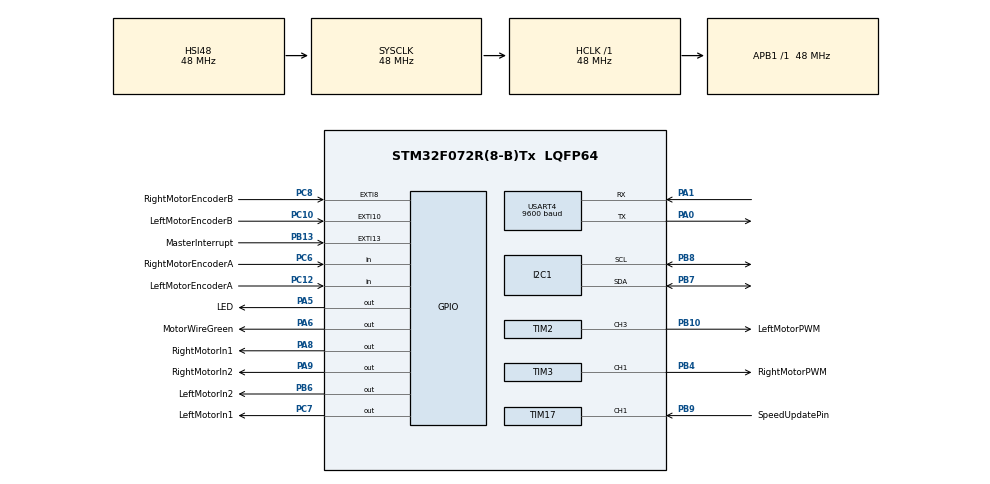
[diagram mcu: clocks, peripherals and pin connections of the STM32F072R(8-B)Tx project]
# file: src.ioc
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Dma.Request0=TIM2_CH3
Dma.Request1=TIM3_CH1/TRIG
Dma.TIM2_CH3.0.Direction=DMA_MEMORY_TO_PERIPH
Dma.TIM2_CH3.0.Instance=DMA1_Channel1
Dma.TIM2_CH3.0.MemDataAlignment=DMA_MDATAALIGN_WORD
Dma.TIM2_CH3.0.MemInc=DMA_MINC_DISABLE
Dma.TIM2_CH3.0.Mode=DMA_CIRCULAR
Dma.TIM2_CH3.0.PeriphDataAlignment=DMA_PDATAALIGN_WORD
Dma.TIM2_CH3.0.PeriphInc=DMA_PINC_DISABLE
Dma.TIM2_CH3.0.Priority=DMA_PRIORITY_HIGH
Dma.TIM3_CH1/TRIG.1.Direction=DMA_MEMORY_TO_PERIPH
Dma.TIM3_CH1/TRIG.1.Instance=DMA1_Channel6
Dma.TIM3_CH1/TRIG.1.MemDataAlignment=DMA_MDATAALIGN_WORD
Dma.TIM3_CH1/TRIG.1.MemInc=DMA_MINC_DISABLE
Dma.TIM3_CH1/TRIG.1.Mode=DMA_CIRCULAR
Dma.TIM3_CH1/TRIG.1.PeriphDataAlignment=DMA_PDATAALIGN_WORD
Dma.TIM3_CH1/TRIG.1.PeriphInc=DMA_PINC_DISABLE
Dma.TIM3_CH1/TRIG.1.Priority=DMA_PRIORITY_HIGH
FREERTOS.Events01=messageReceived,Dynamic,NULL
FREERTOS.Mutexes01=logMutex,Static,logMutexControlBlock
FREERTOS.Queues01=messagesQueue,3,struct Message,0,Dynamic,NULL,NULL;speedMeasQueue,1,struct SpeedValues,0,Static,speedMeasQueueBuffer,speedMeasQueueControlBlock
FREERTOS.Tasks01=controllerTask,24,200,startControllerTask,Default,NULL,Dynamic,NULL,NULL;rxTask,24,200,startCommunicationTask,Default,NULL,Dynamic,NULL,NULL;feedbackTask,24,128,startFeedbackTask,Default,NULL,Dynamic,NULL,NULL
FREERTOS.configUSE_NEWLIB_REENTRANT=1
Mcu.Family=STM32F0
Mcu.Name=STM32F072R(8-B)Tx
Mcu.Package=LQFP64
Mcu.UserConstants=TIM2_PRESCALER,0;TIM2_PERIOD,10000-1;TIM3_PERIOD,10000-1;TIM3_PRESCALER,0;TIM17_PRESCALER,1000-1;TIM17_PERIOD,480-1
NVIC.DMA1_Channel1_IRQn=true\:3\:0\:false\:false\:true\:true\:false\:true\:true
NVIC.DMA1_Channel4_5_6_7_IRQn=true\:3\:0\:false\:false\:true\:true\:false\:true\:true
NVIC.EXTI4_15_IRQn=true\:3\:0\:false\:false\:true\:true\:true\:true\:true
NVIC.TIM17_IRQn=true\:3\:0\:false\:false\:true\:true\:true\:true\:true
NVIC.TIM6_DAC_IRQn=true\:0\:0\:false\:false\:true\:false\:false\:true\:true
NVIC.TimeBase=TIM6_DAC_IRQn
NVIC.TimeBaseIP=TIM6
NVIC.USART3_4_IRQn=true\:3\:0\:false\:false\:true\:true\:true\:true\:true
PA0.Mode=Asynchronous
PA0.Signal=USART4_TX
PA1.Mode=Asynchronous
PA1.Signal=USART4_RX
PA13.Mode=Serial_Wire
PA13.Signal=SYS_SWDIO
PA14.Mode=Serial_Wire
PA14.Signal=SYS_SWCLK
PA5.GPIO_Label=LED
PA5.GPIO_Mode=GPIO_MODE_OUTPUT_PP
PA5.GPIO_ModeDefaultOutputPP=GPIO_MODE_OUTPUT_PP
PA5.GPIO_PuPd=GPIO_NOPULL
PA5.GPIO_Speed=GPIO_SPEED_FREQ_LOW
PA5.PinState=GPIO_PIN_RESET
PA5.Signal=GPIO_Output
PA6.GPIO_Label=MotorWireGreen
PA6.GPIO_ModeDefaultOutputPP=GPIO_MODE_OUTPUT_OD
PA6.GPIO_PuPd=GPIO_NOPULL
PA6.GPIO_Speed=GPIO_SPEED_FREQ_LOW
PA6.PinState=GPIO_PIN_RESET
PA6.Signal=GPIO_Output
PA8.GPIO_Label=RightMotorIn1
PA8.GPIO_ModeDefaultOutputPP=GPIO_MODE_OUTPUT_OD
PA8.Signal=GPIO_Output
PA9.GPIO_Label=RightMotorIn2
PA9.GPIO_ModeDefaultOutputPP=GPIO_MODE_OUTPUT_OD
PA9.Signal=GPIO_Output
PB10.GPIO_Label=LeftMotorPWM
PB10.GPIO_ModeDefaultPP=GPIO_MODE_AF_OD
PB10.GPIO_PuPd=GPIO_NOPULL
PB10.GPIO_Speed=GPIO_SPEED_FREQ_LOW
PB10.Signal=S_TIM2_CH3
PB13.GPIO_Label=MasterInterrupt
PB13.GPIO_PuPd=GPIO_PULLDOWN
PB13.Signal=GPXTI13
PB4.GPIO_Label=RightMotorPWM
PB4.GPIO_ModeDefaultPP=GPIO_MODE_AF_OD
PB4.Signal=S_TIM3_CH1
PB6.GPIO_Label=LeftMotorIn2
PB6.GPIO_ModeDefaultOutputPP=GPIO_MODE_OUTPUT_OD
PB6.Signal=GPIO_Output
PB7.Mode=I2C
PB7.Signal=I2C1_SDA
PB8.Mode=I2C
PB8.Signal=I2C1_SCL
PB9.GPIO_Label=SpeedUpdatePin
PB9.Signal=S_TIM17_CH1
PC10.GPIO_Label=LeftMotorEncoderB
PC10.GPIO_ModeDefaultEXTI=GPIO_MODE_IT_RISING_FALLING
PC10.Signal=GPXTI10
PC12.GPIO_Label=LeftMotorEncoderA
PC12.Signal=GPIO_Input
PC14-OSC32_IN.Mode=LSE-External-Oscillator
PC14-OSC32_IN.Signal=RCC_OSC32_IN
PC15-OSC32_OUT.Mode=LSE-External-Oscillator
PC15-OSC32_OUT.Signal=RCC_OSC32_OUT
PC6.GPIO_Label=RightMotorEncoderA
PC6.Signal=GPIO_Input
PC7.GPIO_Label=LeftMotorIn1
PC7.GPIO_ModeDefaultOutputPP=GPIO_MODE_OUTPUT_OD
PC7.Signal=GPIO_Output
PC8.GPIO_Label=RightMotorEncoderB
PC8.GPIO_ModeDefaultEXTI=GPIO_MODE_IT_RISING_FALLING
PC8.Signal=GPXTI8
PF0-OSC_IN.Mode=HSE-External-Oscillator
PF0-OSC_IN.Signal=RCC_OSC_IN
PF1-OSC_OUT.Mode=HSE-External-Oscillator
PF1-OSC_OUT.Signal=RCC_OSC_OUT
ProjectManager.HeapSize=0x200
ProjectManager.StackSize=0x400
ProjectManager.TargetToolchain=STM32CubeIDE
RCC.AHBFreq_Value=48000000
RCC.APB1Freq_Value=48000000
RCC.APB1TimFreq_Value=48000000
RCC.FLatency-AdvancedSettings=FLASH_LATENCY_1
RCC.HCLKFreq_Value=48000000
RCC.PLLDivider=RCC_PREDIV_DIV2
RCC.PLLMUL=RCC_PLL_MUL12
RCC.PREFETCH_ENABLE-AdvancedSettings=1
RCC.SYSCLKFreq_VALUE=48000000
RCC.SYSCLKSource=RCC_SYSCLKSOURCE_HSI48
SH.S_TIM17_CH1.0=TIM17_CH1,Input_Capture1_from_TI1
SH.S_TIM2_CH3.0=TIM2_CH3,PWM Generation3 CH3
SH.S_TIM3_CH1.0=TIM3_CH1,PWM Generation1 CH1
TIM17.Channel=TIM_CHANNEL_1
TIM17.Period=TIM17_PERIOD
TIM17.Prescaler=TIM17_PRESCALER
TIM2.AutoReloadPreload=TIM_AUTORELOAD_PRELOAD_DISABLE
TIM2.Channel-PWM\ Generation3\ CH3=TIM_CHANNEL_3
TIM2.OCPolarity_3=TIM_OCPOLARITY_HIGH
TIM2.Period=TIM2_PERIOD
TIM2.Prescaler=TIM2_PRESCALER
TIM2.TIM_MasterOutputTrigger=TIM_TRGO_UPDATE
TIM3.AutoReloadPreload=TIM_AUTORELOAD_PRELOAD_DISABLE
TIM3.Channel-PWM\ Generation1\ CH1=TIM_CHANNEL_1
TIM3.Period=TIM3_PERIOD
TIM3.Prescaler=TIM3_PRESCALER
TIM3.TIM_MasterOutputTrigger=TIM_TRGO_UPDATE
USART4.BaudRate=9600
USART4.Mode=MODE_TX
USART4.OverrunDisableParam=ADVFEATURE_OVERRUN_DISABLE
USART4.VirtualMode-Asynchronous=VM_ASYNC
VP_FREERTOS_VS_CMSIS_V2.Mode=CMSIS_V2
VP_SYS_VS_tim6.Mode=TIM6
VP_TIM17_VS_ClockSourceINT.Mode=Enable_Timer
VP_TIM2_VS_ClockSourceINT.Mode=Internal
VP_TIM3_VS_ClockSourceINT.Mode=Internal
board=NUCLEO-F072RB

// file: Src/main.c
/* USER CODE BEGIN Header */
/**
  ******************************************************************************
  * @file           : main.c
  * @brief          : Main program body
  ******************************************************************************
  * @attention
  *
  * Copyright (c) 2023 STMicroelectronics.
  * All rights reserved.
  *
  * This software is licensed under terms that can be found in the LICENSE file
  * in the root directory of this software component.
  * If no LICENSE file comes with this software, it is provided AS-IS.
  *
  ******************************************************************************
  */
/* USER CODE END Header */
#include "main.h"
#include "cmsis_os.h"
#include "dma.h"
#include "i2c.h"
#include "tim.h"
#include "usart.h"
#include "gpio.h"

/* USER CODE BEGIN Includes */
#include <main/context.h>
/* USER CODE END Includes */

/* USER CODE BEGIN PV */
struct Context* context;
/* USER CODE END PV */

void SystemClock_Config(void);
void MX_FREERTOS_Init(void);

int main(void)
{
  /* USER CODE BEGIN 1 */
    context = new_main_context();

  /* USER CODE END 1 */

  /* MCU Configuration--------------------------------------------------------*/

  /* Reset of all peripherals, Initializes the Flash interface and the Systick. */
  HAL_Init();

  /* Configure the system clock */
  SystemClock_Config();

  /* Initialize all configured peripherals */
  MX_GPIO_Init();
  MX_DMA_Init();
  MX_TIM2_Init();
  MX_TIM3_Init();
  MX_TIM17_Init();
  MX_USART4_UART_Init();
  MX_I2C1_Init();

  /* Init scheduler */
  osKernelInitialize();  /* Call init function for freertos objects (in freertos.c) */
  MX_FREERTOS_Init();

  /* Start scheduler */
  osKernelStart();

  /* We should never get here as control is now taken by the scheduler */
  /* Infinite loop */
  while (1)
  {

  }
}

void SystemClock_Config(void)
{
  RCC_OscInitTypeDef RCC_OscInitStruct = {0};
  RCC_ClkInitTypeDef RCC_ClkInitStruct = {0};
  RCC_PeriphCLKInitTypeDef PeriphClkInit = {0};

  /** Initializes the RCC Oscillators according to the specified parameters
  * in the RCC_OscInitTypeDef structure.
  */
  RCC_OscInitStruct.OscillatorType = RCC_OSCILLATORTYPE_HSI|RCC_OSCILLATORTYPE_HSI48;
  RCC_OscInitStruct.HSIState = RCC_HSI_ON;
  RCC_OscInitStruct.HSI48State = RCC_HSI48_ON;
  RCC_OscInitStruct.HSICalibrationValue = RCC_HSICALIBRATION_DEFAULT;
  RCC_OscInitStruct.PLL.PLLState = RCC_PLL_NONE;
  if (HAL_RCC_OscConfig(&RCC_OscInitStruct) != HAL_OK)
  {
    Error_Handler();
  }

  /** Initializes the CPU, AHB and APB buses clocks
  */
  RCC_ClkInitStruct.ClockType = RCC_CLOCKTYPE_HCLK|RCC_CLOCKTYPE_SYSCLK
                              |RCC_CLOCKTYPE_PCLK1;
  RCC_ClkInitStruct.SYSCLKSource = RCC_SYSCLKSOURCE_HSI48;
  RCC_ClkInitStruct.AHBCLKDivider = RCC_SYSCLK_DIV1;
  RCC_ClkInitStruct.APB1CLKDivider = RCC_HCLK_DIV1;

  if (HAL_RCC_ClockConfig(&RCC_ClkInitStruct, FLASH_LATENCY_1) != HAL_OK)
  {
    Error_Handler();
  }
  PeriphClkInit.PeriphClockSelection = RCC_PERIPHCLK_I2C1;
  PeriphClkInit.I2c1ClockSelection = RCC_I2C1CLKSOURCE_HSI;
  if (HAL_RCCEx_PeriphCLKConfig(&PeriphClkInit) != HAL_OK)
  {
    Error_Handler();
  }
}

/* USER CODE BEGIN 4 */
void HAL_GPIO_EXTI_Callback (uint16_t GPIO_Pin)
{
    if (context->extInterruptCb != NULL) context->extInterruptCb(GPIO_Pin);
}

void HAL_UART_RxCpltCallback (UART_HandleTypeDef* huart)
{
    if (context->rxCompletedCb != NULL) context->rxCompletedCb(huart);
}

/* USER CODE END 4 */

void HAL_TIM_PeriodElapsedCallback(TIM_HandleTypeDef *htim)
{
  if (htim->Instance == TIM6) {
    HAL_IncTick();
  }
  /* USER CODE BEGIN Callback 1 */
  if (context->periodElapsedCb != NULL) context->periodElapsedCb(htim);

  /* USER CODE END Callback 1 */
}

void Error_Handler(void)
{
  __disable_irq();
  while (1)
  {
  }
}

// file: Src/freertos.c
/* USER CODE BEGIN Header */
/**
  ******************************************************************************
  * File Name          : freertos.c
  * Description        : Code for freertos applications
  ******************************************************************************
  * @attention
  *
  * Copyright (c) 2023 STMicroelectronics.
  * All rights reserved.
  *
  * This software is licensed under terms that can be found in the LICENSE file
  * in the root directory of this software component.
  * If no LICENSE file comes with this software, it is provided AS-IS.
  *
  ******************************************************************************
  */
/* USER CODE END Header */

#include "FreeRTOS.h"
#include "task.h"
#include "main.h"
#include "cmsis_os.h"

/* USER CODE BEGIN Includes */
#include <log/interface.h>
#include <main/context.h>
#include <main/defs.h>
#include <msg/defs/Message.h> // Change to lowercase
#include <tasks/controller/interface.h>
#include <tasks/feedback/interface.h>
#include <tasks/rx/interface.h>

/* USER CODE END Includes */

typedef StaticQueue_t osStaticMessageQDef_t;
typedef StaticSemaphore_t osStaticMutexDef_t;

/* Definitions for controllerTask */
osThreadId_t controllerTaskHandle;
const osThreadAttr_t controllerTask_attributes = {
  .name = "controllerTask",
  .stack_size = 200 * 4,
  .priority = (osPriority_t) osPriorityNormal,
};
/* Definitions for rxTask */
osThreadId_t rxTaskHandle;
const osThreadAttr_t rxTask_attributes = {
  .name = "rxTask",
  .stack_size = 200 * 4,
  .priority = (osPriority_t) osPriorityNormal,
};
/* Definitions for feedbackTask */
osThreadId_t feedbackTaskHandle;
const osThreadAttr_t feedbackTask_attributes = {
  .name = "feedbackTask",
  .stack_size = 128 * 4,
  .priority = (osPriority_t) osPriorityNormal,
};
/* Definitions for messagesQueue */
osMessageQueueId_t messagesQueueHandle;
const osMessageQueueAttr_t messagesQueue_attributes = {
  .name = "messagesQueue"
};
/* Definitions for speedMeasQueue */
osMessageQueueId_t speedMeasQueueHandle;
uint8_t speedMeasQueueBuffer[ 1 * sizeof( struct SpeedValues ) ];
osStaticMessageQDef_t speedMeasQueueControlBlock;
const osMessageQueueAttr_t speedMeasQueue_attributes = {
  .name = "speedMeasQueue",
  .cb_mem = &speedMeasQueueControlBlock,
  .cb_size = sizeof(speedMeasQueueControlBlock),
  .mq_mem = &speedMeasQueueBuffer,
  .mq_size = sizeof(speedMeasQueueBuffer)
};
/* Definitions for logMutex */
osMutexId_t logMutexHandle;
osStaticMutexDef_t logMutexControlBlock;
const osMutexAttr_t logMutex_attributes = {
  .name = "logMutex",
  .cb_mem = &logMutexControlBlock,
  .cb_size = sizeof(logMutexControlBlock),
};
/* Definitions for messageReceived */
osEventFlagsId_t messageReceivedHandle;
const osEventFlagsAttr_t messageReceived_attributes = {
  .name = "messageReceived"
};

void startControllerTask(void *argument);
void startCommunicationTask(void *argument);
void startFeedbackTask(void *argument);

void MX_FREERTOS_Init(void); /* (MISRA C 2004 rule 8.1) */

void MX_FREERTOS_Init(void) {
  /* USER CODE BEGIN Init */
    HAL_GPIO_TogglePin(LED_GPIO_Port, LED_Pin);
    HAL_Delay(1000);
    HAL_GPIO_TogglePin(LED_GPIO_Port, LED_Pin);

  /* USER CODE END Init */
  /* Create the mutex(es) */
  /* creation of logMutex */
  logMutexHandle = osMutexNew(&logMutex_attributes);

  /* USER CODE BEGIN RTOS_MUTEX */
  /* add mutexes, ... */
    configure_log(&logMutexHandle);
  /* USER CODE END RTOS_MUTEX */

  /* Create the queue(s) */
  /* creation of messagesQueue */
  messagesQueueHandle = osMessageQueueNew (3, sizeof(struct Message), &messagesQueue_attributes);

  /* creation of speedMeasQueue */
  speedMeasQueueHandle = osMessageQueueNew (1, sizeof(struct SpeedValues), &speedMeasQueue_attributes);

  /* Create the thread(s) */
  /* creation of controllerTask */
  controllerTaskHandle = osThreadNew(startControllerTask, NULL, &controllerTask_attributes);

  /* creation of rxTask */
  rxTaskHandle = osThreadNew(startCommunicationTask, NULL, &rxTask_attributes);

  /* creation of feedbackTask */
  feedbackTaskHandle = osThreadNew(startFeedbackTask, NULL, &feedbackTask_attributes);

  /* creation of messageReceived */
  messageReceivedHandle = osEventFlagsNew(&messageReceived_attributes);

}

void startControllerTask(void *argument)
{
  /* USER CODE BEGIN startControllerTask */
  configure_controller(&controllerTaskHandle, &messagesQueueHandle, &speedMeasQueueHandle);

  LOG_INFO("Start controller task\n");
  /* Infinite loop */
  for(;;)
  {
      work_controller();
  }
  /* USER CODE END startControllerTask */
}

void startCommunicationTask(void *argument)
{
  /* USER CODE BEGIN startCommunicationTask */
  configureRx(&rxTaskHandle, &messagesQueueHandle);

  LOG_INFO("Start communication task\n");
  /* Infinite loop */
  for(;;)
  {
    workRx();
  }
  /* USER CODE END startCommunicationTask */
}

void startFeedbackTask(void *argument)
{
  /* USER CODE BEGIN startFeedbackTask */

  struct FeedbackConfig feedbackConfig = {
      &speedMeasQueueHandle,
      &feedbackTaskHandle
  };
  configure_feedback(&feedbackConfig);

  LOG_INFO("Start feedback task\n");

  /* Infinite loop */
  for(;;)
  {
    work_feedback();
  }
  /* USER CODE END startFeedbackTask */
}
